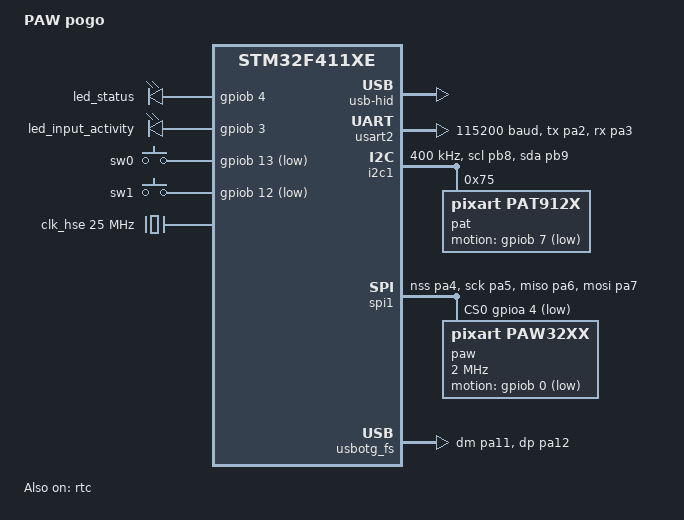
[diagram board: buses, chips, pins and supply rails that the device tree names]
/dts-v1/;
#include <st/f4/stm32f411Xe.dtsi>
#include <st/f4/stm32f411c(c-e)ux-pinctrl.dtsi>
#include <zephyr/dt-bindings/input/input-event-codes.h>
#include <dt-bindings/hid.h>

/ {
	model = "PAW pogo";
	compatible = "balto,paw-pogo";

	chosen {
		zephyr,console = &usart2;
		zephyr,shell-uart = &usart2;
		zephyr,sram = &sram0;
		zephyr,flash = &flash0;
	};

	leds {
		compatible = "gpio-leds";
		led_status: led_a {
			gpios = <&gpiob 4 GPIO_ACTIVE_HIGH>;
		};
		led_input_activity: led_b {
			gpios = <&gpiob 3 GPIO_ACTIVE_HIGH>;
		};
	};

	buttons: gpio_keys {
		compatible = "gpio-keys";

		sw0 {
			gpios = <&gpiob 13 (GPIO_PULL_UP | GPIO_ACTIVE_LOW)>;
			zephyr,code = <INPUT_BTN_LEFT>;
		};
		sw1 {
			gpios = <&gpiob 12 (GPIO_PULL_UP | GPIO_ACTIVE_LOW)>;
			zephyr,code = <INPUT_BTN_RIGHT>;
		};
	};


	hid {
		compatible = "hid";
		input {
			hid-mouse {
				compatible = "hid-mouse";
				input = <&paw &buttons &pat>;
				input-id = <1>;
				feature-id = <2>;
				report = <HID_MOUSE_REPORT_HI_RES_WHEEL(1, 2)>;
			};
		};
		output {
			usb-hid {
				compatible = "usb-hid";
				usb-hid-dev = <&hid_dev_0>;
			};
		};
	};

	hid_dev_0: hid_dev_0 {
		compatible = "zephyr,hid-device";
		interface-name = "HID0";
		in-report-size = <16>;
		in-polling-period-us = <1000>;
	};
};

&clk_lsi {
	status = "okay";
};

&clk_hse {
	clock-frequency = <DT_FREQ_M(25)>;
	status = "okay";
};

&pll {
	div-m = <25>;
	mul-n = <384>;
	div-p = <4>;
	div-q = <8>;
	clocks = <&clk_hse>;
	status = "okay";
};

&rcc {
	clocks = <&pll>;
	clock-frequency = <DT_FREQ_M(96)>;
	ahb-prescaler = <1>;
	apb1-prescaler = <2>;
	apb2-prescaler = <1>;
};

&usart2 {
	pinctrl-0 = <&usart2_tx_pa2 &usart2_rx_pa3>;
	pinctrl-names = "default";
	current-speed = <115200>;
	status = "okay";
};

&i2c1 {
	pinctrl-0 = <&i2c1_scl_pb8 &i2c1_sda_pb9>;
	pinctrl-names = "default";
	status = "okay";
	clock-frequency = <I2C_BITRATE_FAST>;

	pat: pat@75 {
		compatible = "pixart,pat912x";
		reg = <0x75>;
		motion-gpios = <&gpiob 7 GPIO_ACTIVE_LOW>;
		zephyr,axis-y = <INPUT_REL_WHEEL>;
		res-x-cpi = <50>;
		res-y-cpi = <50>;
		invert-y;
	};
};

&spi1 {
	pinctrl-0 = <&spi1_nss_pa4 &spi1_sck_pa5
		     &spi1_miso_pa6 &spi1_mosi_pa7>;
	pinctrl-names = "default";
	status = "okay";

	cs-gpios = <&gpioa 4 GPIO_ACTIVE_LOW>;

	paw: paw3222@0 {
		compatible = "pixart,paw32xx";
		reg = <0>;
		spi-max-frequency = <DT_FREQ_M(2)>;
		motion-gpios = <&gpiob 0 GPIO_ACTIVE_LOW>;
		zephyr,axis-x = <INPUT_REL_X>;
		zephyr,axis-y = <INPUT_REL_Y>;
		res-cpi = <800>;
		invert-y;
	};
};

&rtc {
	clocks = <&rcc STM32_CLOCK_BUS_APB1 0x10000000>,
		 <&rcc STM32_SRC_LSI RTC_SEL(2)>;
	status = "okay";
};

zephyr_udc0: &usbotg_fs {
	pinctrl-0 = <&usb_otg_fs_dm_pa11 &usb_otg_fs_dp_pa12>;
	pinctrl-names = "default";
	status = "okay";
};
